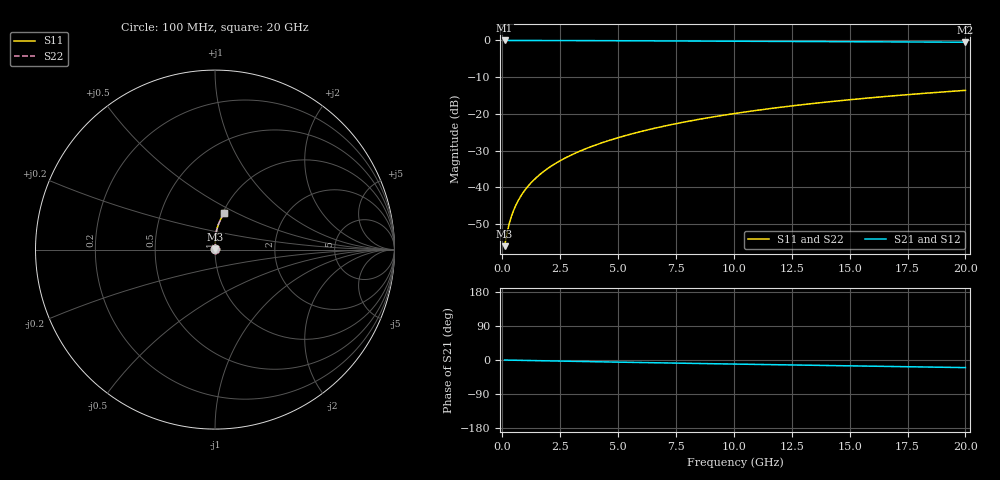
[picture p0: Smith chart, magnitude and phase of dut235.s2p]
! Touchstone file exported from HFSS 2024.1.0
!  File:  C:/UserFiles/LocalFiles/RDL_TSV_Batchsim/temp_RDL_bottom_235_1778701050.aedt
!  Generated:  03:39:49 AM May 14, 2026
!  Design:  RDL_bottom
!  Project:  temp_RDL_bottom_235_1778701050
!  Setup:  Setup1
!  Solution:  Sweep
! Variables:
!  dtsv = 10.80580581um
!  hbump = 3um
!  htsv = 71.67um
!  ldown = 260.07um
!  lrdl = 100um
!  p = 40
!  p1 = 49.59um
!  rhole = 1um
!  t = 450um
!  tdown = 3.98um
!  trdl = 3.915915916um
!  wdown = 22.51um
!  wrdl = 20um
# GHz S MA R 50.000000
! Terminal data exported
! Port[1] = RDL1_T1
! Port[2] = RDL1_T2
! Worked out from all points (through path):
!   200 points, 100 MHz to 20 GHz, reference 50 ohm
!   highest |S21| = -0.01 dB at 100 MHz (marker M1); lowest = -0.5 dB at 20 GHz (marker M2)
!   group delay of S21, straight-line fit = 2.75 ps
!   lowest |S11| = -56.0 dB at 100 MHz (marker M3), VSWR 1.00, Z = 50.1 + j0.1 ohm
!   |S11| at or under -10 dB: start of sweep to end of sweep
!   |S22| runs from -56.0 to -13.6 dB; largest |S21 - S12| = 2.6e-15
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0.1  0.001578 39.2  0.9988 -0.1  0.9988 -0.1  0.001578 39.2
! Gamma 0 0 0 0
! Port Impedance 50 0 50 0
0.2  0.002346 57.2  0.9987 -0.2  0.9987 -0.2  0.002346 57.2
0.3  0.003204 65.6  0.9986 -0.4  0.9986 -0.4  0.003204 65.6
0.4  0.004077 70.3  0.9985 -0.5  0.9985 -0.5  0.004077 70.3
0.5  0.004951 73.5  0.9985 -0.6  0.9985 -0.6  0.004951 73.5
0.6  0.005825 75.7  0.9984 -0.7  0.9984 -0.7  0.005825 75.7
0.8  0.007581 78.9  0.9983 -0.9  0.9983 -0.9  0.00758 78.9
1.1  0.01024 81.8  0.998 -1.3  0.998 -1.3  0.01024 81.8
1.5  0.01383 84.1  0.9976 -1.8  0.9976 -1.8  0.01383 84.1
1.8  0.01655 85.2  0.9972 -2.1  0.9972 -2.1  0.01655 85.2
2.1  0.01931 86.1  0.9968 -2.4  0.9968 -2.4  0.01931 86.1
2.7  0.02489 87.2  0.9957 -3.1  0.9957 -3.1  0.02489 87.2
3.5  0.03251 88.1  0.994 -4.0  0.994 -4.0  0.03251 88.1
4.2  0.03935 88.5  0.9923 -4.8  0.9923 -4.8  0.03935 88.5
5  0.04735 88.6  0.9902 -5.7  0.9902 -5.7  0.04735 88.6
5.9  0.05658 88.5  0.9876 -6.6  0.9876 -6.6  0.05659 88.5
6.8  0.06603 88.2  0.985 -7.5  0.985 -7.5  0.06603 88.2
8.4  0.08321 87.2  0.9801 -9.2  0.9801 -9.2  0.08322 87.2
10.1  0.1018 85.9  0.975 -10.8  0.975 -10.8  0.1018 85.9
13.4  0.1382 82.6  0.9651 -14.0  0.9651 -14.0  0.1382 82.6
16.7  0.1741 79.1  0.9553 -17.0  0.9553 -17.0  0.1741 79.1
20  0.2089 75.7  0.9452 -20.0  0.9452 -20.0  0.2089 75.7
